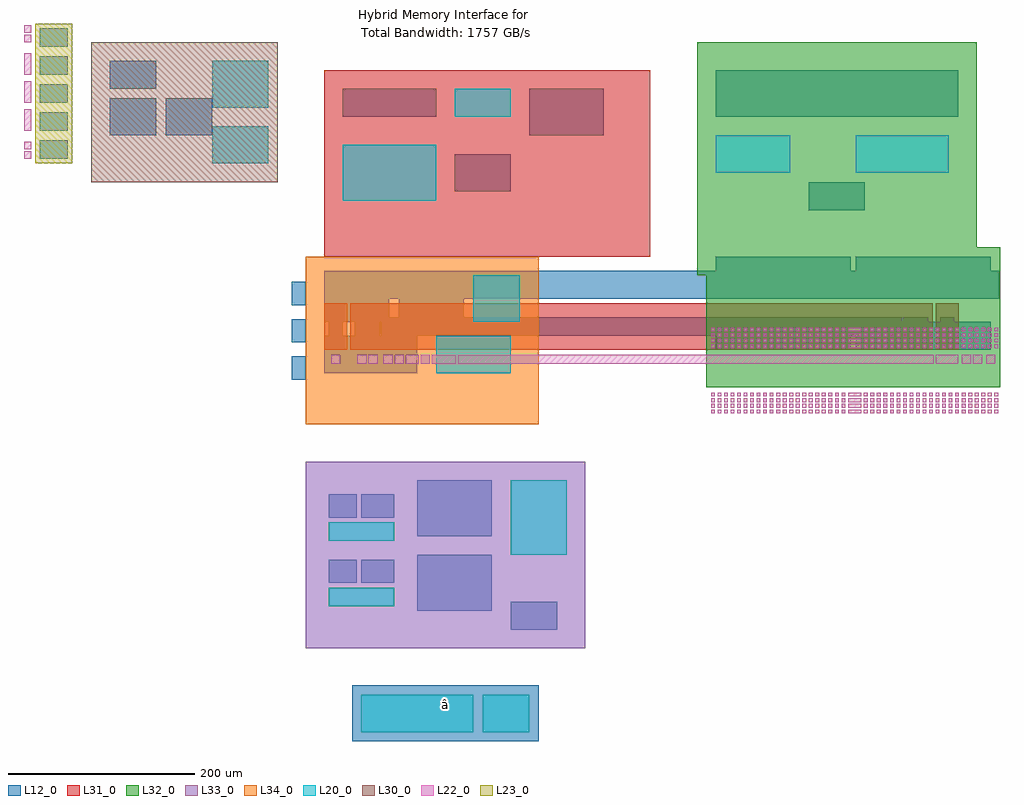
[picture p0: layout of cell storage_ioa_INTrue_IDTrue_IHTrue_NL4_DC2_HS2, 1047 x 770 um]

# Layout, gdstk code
import gdstk
lib = gdstk.Library(unit=1e-6, precision=1e-09)
def R(c, l, rs):  # rectangles x0, y0, x1, y1
    for r in rs: c.add(gdstk.rectangle(r[:2], r[2:], *l))
L12_0 = (12, 0)
L20_0 = (20, 0)
L22_0 = (22, 0)
L23_0 = (23, 0)
L30_0 = (30, 0)
L31_0 = (31, 0)
L32_0 = (32, 0)
L33_0 = (33, 0)
L34_0 = (34, 0)

rectangle_gdsfactorypcom = lib.new_cell('rectangle_gdsfactorypcomponentspshapesprectangle_S200_1_e11508d3')
R(rectangle_gdsfactorypcom, L30_0, [(0,0,200,150)])

c_rectangle_gdsfactorypcom = lib.new_cell('rectangle_gdsfactorypcomponentspshapesprectangle_S40_60_6309c5ed')
R(c_rectangle_gdsfactorypcom, L23_0, [(0,0,40,60)])

c_rectangle_gdsfactorypcom_ = lib.new_cell('rectangle_gdsfactorypcomponentspshapesprectangle_S30_20_809fb7a4')
R(c_rectangle_gdsfactorypcom_, L12_0, [(0,0,30,20)])

c_rectangle_gdsfactorypcom__ = lib.new_cell('rectangle_gdsfactorypcomponentspshapesprectangle_S8_8_L_e76dc976')
R(c_rectangle_gdsfactorypcom__, L22_0, [(0,0,8,8)])

nvme_serdes_lane = lib.new_cell('nvme_serdes_lane')
nvme_serdes_lane.add(gdstk.Reference(c_rectangle_gdsfactorypcom, (0,0)))
nvme_serdes_lane.add(gdstk.Reference(c_rectangle_gdsfactorypcom_, (5,35)))
nvme_serdes_lane.add(gdstk.Reference(c_rectangle_gdsfactorypcom_, (5,5)))
nvme_serdes_lane.add(gdstk.Reference(c_rectangle_gdsfactorypcom__, (-12,40)))
nvme_serdes_lane.add(gdstk.Reference(c_rectangle_gdsfactorypcom__, (-12,50)))
nvme_serdes_lane.add(gdstk.Reference(c_rectangle_gdsfactorypcom__, (-12,5)))
nvme_serdes_lane.add(gdstk.Reference(c_rectangle_gdsfactorypcom__, (-12,15)))
nvme_serdes_lane.add(gdstk.Label('TX', (20,45), layer=100, texttype=0))
nvme_serdes_lane.add(gdstk.Label('RX', (20,15), layer=100, texttype=0))

c_rectangle_gdsfactorypcom___ = lib.new_cell('rectangle_gdsfactorypcomponentspshapesprectangle_S50_30_d8f4c041')
R(c_rectangle_gdsfactorypcom___, L12_0, [(0,0,50,30)])

c_rectangle_gdsfactorypcom____ = lib.new_cell('rectangle_gdsfactorypcomponentspshapesprectangle_S50_40_d9421035')
R(c_rectangle_gdsfactorypcom____, L12_0, [(0,0,50,40)])

c_rectangle_gdsfactorypcom_____ = lib.new_cell('rectangle_gdsfactorypcomponentspshapesprectangle_S60_50_de190fdf')
R(c_rectangle_gdsfactorypcom_____, L20_0, [(0,0,60,50)])

c_rectangle_gdsfactorypcom______ = lib.new_cell('rectangle_gdsfactorypcomponentspshapesprectangle_S60_40_445608bc')
R(c_rectangle_gdsfactorypcom______, L20_0, [(0,0,60,40)])

nvme_controller_l4_qd64 = lib.new_cell('nvme_controller_L4_QD64')
nvme_controller_l4_qd64.add(gdstk.Reference(rectangle_gdsfactorypcom, (0,0)))
nvme_controller_l4_qd64.add(gdstk.Reference(nvme_serdes_lane, (-60,20)))
nvme_controller_l4_qd64.add(gdstk.Reference(nvme_serdes_lane, (-60,50)))
nvme_controller_l4_qd64.add(gdstk.Reference(nvme_serdes_lane, (-60,80)))
nvme_controller_l4_qd64.add(gdstk.Reference(nvme_serdes_lane, (-60,110)))
nvme_controller_l4_qd64.add(gdstk.Reference(c_rectangle_gdsfactorypcom___, (20,100)))
nvme_controller_l4_qd64.add(gdstk.Reference(c_rectangle_gdsfactorypcom____, (20,50)))
nvme_controller_l4_qd64.add(gdstk.Reference(c_rectangle_gdsfactorypcom____, (80,50)))
nvme_controller_l4_qd64.add(gdstk.Reference(c_rectangle_gdsfactorypcom_____, (130,80)))
nvme_controller_l4_qd64.add(gdstk.Reference(c_rectangle_gdsfactorypcom______, (130,20)))
nvme_controller_l4_qd64.add(gdstk.Label('Admin Q', (45,115), layer=100, texttype=0))
nvme_controller_l4_qd64.add(gdstk.Label('Sub Q', (45,70), layer=100, texttype=0))
nvme_controller_l4_qd64.add(gdstk.Label('x64', (45,60), layer=100, texttype=0))
nvme_controller_l4_qd64.add(gdstk.Label('Cpl Q', (105,70), layer=100, texttype=0))
nvme_controller_l4_qd64.add(gdstk.Label('CMD', (160,105), layer=100, texttype=0))
nvme_controller_l4_qd64.add(gdstk.Label('PROC', (160,95), layer=100, texttype=0))
nvme_controller_l4_qd64.add(gdstk.Label('DATA', (160,40), layer=100, texttype=0))
nvme_controller_l4_qd64.add(gdstk.Label('BUF', (160,30), layer=100, texttype=0))
nvme_controller_l4_qd64.add(gdstk.Label('NVMe Gen4 x4', (100,165), layer=100, texttype=0))
nvme_controller_l4_qd64.add(gdstk.Label('16 GB/s', (100,180), layer=100, texttype=0))

c_rectangle_gdsfactorypcom_______ = lib.new_cell('rectangle_gdsfactorypcomponentspshapesprectangle_S350_2_b3605190')
R(c_rectangle_gdsfactorypcom_______, L31_0, [(0,0,350,200)])

c_rectangle_gdsfactorypcom________ = lib.new_cell('rectangle_gdsfactorypcomponentspshapesprectangle_S25_50_0eaac85f')
R(c_rectangle_gdsfactorypcom________, L31_0, [(0,0,25,50)])

c_rectangle_gdsfactorypcom_________ = lib.new_cell('rectangle_gdsfactorypcomponentspshapesprectangle_S10_10_8efecda3')
R(c_rectangle_gdsfactorypcom_________, L22_0, [(0,0,10,10)])

c_rectangle_gdsfactorypcom__________ = lib.new_cell('rectangle_gdsfactorypcomponentspshapesprectangle_S15_20_9abfeb7e')
R(c_rectangle_gdsfactorypcom__________, L12_0, [(0,0,15,20)])

ddr5_data_lane = lib.new_cell('ddr5_data_lane')
ddr5_data_lane.add(gdstk.Reference(c_rectangle_gdsfactorypcom________, (0,0)))
ddr5_data_lane.add(gdstk.Reference(c_rectangle_gdsfactorypcom_________, (7.5,-15)))
ddr5_data_lane.add(gdstk.Reference(c_rectangle_gdsfactorypcom__________, (5,15)))
ddr5_data_lane.add(gdstk.Label('DQ', (12.5,-20), layer=100, texttype=0))

c_rectangle_gdsfactorypcom___________ = lib.new_cell('rectangle_gdsfactorypcomponentspshapesprectangle_S264_3_f0d4ea26')
R(c_rectangle_gdsfactorypcom___________, L12_0, [(0,0,264,30)])

ddr5_byte_lane = lib.new_cell('ddr5_byte_lane')
ddr5_byte_lane.add(gdstk.Reference(ddr5_data_lane, (0,0)))
ddr5_byte_lane.add(gdstk.Reference(ddr5_data_lane, (28,0)))
ddr5_byte_lane.add(gdstk.Reference(ddr5_data_lane, (56,0)))
ddr5_byte_lane.add(gdstk.Reference(ddr5_data_lane, (84,0)))
ddr5_byte_lane.add(gdstk.Reference(ddr5_data_lane, (112,0)))
ddr5_byte_lane.add(gdstk.Reference(ddr5_data_lane, (140,0)))
ddr5_byte_lane.add(gdstk.Reference(ddr5_data_lane, (168,0)))
ddr5_byte_lane.add(gdstk.Reference(ddr5_data_lane, (196,0)))
ddr5_byte_lane.add(gdstk.Reference(c_rectangle_gdsfactorypcom_________, (224,-15)))
ddr5_byte_lane.add(gdstk.Reference(c_rectangle_gdsfactorypcom_________, (236,-15)))
ddr5_byte_lane.add(gdstk.Reference(c_rectangle_gdsfactorypcom_________, (250,-15)))
ddr5_byte_lane.add(gdstk.Reference(c_rectangle_gdsfactorypcom___________, (0,55)))
ddr5_byte_lane.add(gdstk.Label('DQS', (234,-25), layer=100, texttype=0))
ddr5_byte_lane.add(gdstk.Label('DM', (255,-25), layer=100, texttype=0))
ddr5_byte_lane.add(gdstk.Label('BYTE LANE', (112,70), layer=100, texttype=0))

c_rectangle_gdsfactorypcom____________ = lib.new_cell('rectangle_gdsfactorypcomponentspshapesprectangle_S100_3_92ad3498')
R(c_rectangle_gdsfactorypcom____________, L12_0, [(0,0,100,30)])

c_rectangle_gdsfactorypcom_____________ = lib.new_cell('rectangle_gdsfactorypcomponentspshapesprectangle_S60_30_f3b40c23')
R(c_rectangle_gdsfactorypcom_____________, L20_0, [(0,0,60,30)])

c_rectangle_gdsfactorypcom______________ = lib.new_cell('rectangle_gdsfactorypcomponentspshapesprectangle_S80_50_e3c18b82')
R(c_rectangle_gdsfactorypcom______________, L12_0, [(0,0,80,50)])

c_rectangle_gdsfactorypcom_______________ = lib.new_cell('rectangle_gdsfactorypcomponentspshapesprectangle_S100_6_37c31c80')
R(c_rectangle_gdsfactorypcom_______________, L20_0, [(0,0,100,60)])

c_rectangle_gdsfactorypcom________________ = lib.new_cell('rectangle_gdsfactorypcomponentspshapesprectangle_S60_40_b8b6fa46')
R(c_rectangle_gdsfactorypcom________________, L12_0, [(0,0,60,40)])

ddr5_phy_c2_r2 = lib.new_cell('ddr5_phy_C2_R2')
ddr5_phy_c2_r2.add(gdstk.Reference(c_rectangle_gdsfactorypcom_______, (0,0)))
ddr5_phy_c2_r2.add(gdstk.Reference(ddr5_byte_lane, (0,-100)))
ddr5_phy_c2_r2.add(gdstk.Reference(ddr5_byte_lane, (40,-100)))
ddr5_phy_c2_r2.add(gdstk.Reference(ddr5_byte_lane, (80,-100)))
ddr5_phy_c2_r2.add(gdstk.Reference(ddr5_byte_lane, (120,-100)))
ddr5_phy_c2_r2.add(gdstk.Reference(ddr5_byte_lane, (160,-100)))
ddr5_phy_c2_r2.add(gdstk.Reference(ddr5_byte_lane, (200,-100)))
ddr5_phy_c2_r2.add(gdstk.Reference(ddr5_byte_lane, (240,-100)))
ddr5_phy_c2_r2.add(gdstk.Reference(ddr5_byte_lane, (280,-100)))
ddr5_phy_c2_r2.add(gdstk.Reference(ddr5_byte_lane, (180,-100)))
ddr5_phy_c2_r2.add(gdstk.Reference(ddr5_byte_lane, (220,-100)))
ddr5_phy_c2_r2.add(gdstk.Reference(ddr5_byte_lane, (260,-100)))
ddr5_phy_c2_r2.add(gdstk.Reference(ddr5_byte_lane, (300,-100)))
ddr5_phy_c2_r2.add(gdstk.Reference(ddr5_byte_lane, (340,-100)))
ddr5_phy_c2_r2.add(gdstk.Reference(ddr5_byte_lane, (380,-100)))
ddr5_phy_c2_r2.add(gdstk.Reference(ddr5_byte_lane, (420,-100)))
ddr5_phy_c2_r2.add(gdstk.Reference(ddr5_byte_lane, (460,-100)))
ddr5_phy_c2_r2.add(gdstk.Reference(c_rectangle_gdsfactorypcom____________, (20,150)))
ddr5_phy_c2_r2.add(gdstk.Reference(c_rectangle_gdsfactorypcom_____________, (140,150)))
ddr5_phy_c2_r2.add(gdstk.Reference(c_rectangle_gdsfactorypcom______________, (220,130)))
ddr5_phy_c2_r2.add(gdstk.Reference(c_rectangle_gdsfactorypcom_______________, (20,60)))
ddr5_phy_c2_r2.add(gdstk.Reference(c_rectangle_gdsfactorypcom________________, (140,70)))
ddr5_phy_c2_r2.add(gdstk.Label('CH0', (80,-130), layer=100, texttype=0))
ddr5_phy_c2_r2.add(gdstk.Label('CH1', (260,-130), layer=100, texttype=0))
ddr5_phy_c2_r2.add(gdstk.Label('CA BUS', (70,165), layer=100, texttype=0))
ddr5_phy_c2_r2.add(gdstk.Label('CLK', (170,165), layer=100, texttype=0))
ddr5_phy_c2_r2.add(gdstk.Label('TRAIN', (260,155), layer=100, texttype=0))
ddr5_phy_c2_r2.add(gdstk.Label('RD/WR', (70,90), layer=100, texttype=0))
ddr5_phy_c2_r2.add(gdstk.Label('FIFO', (70,80), layer=100, texttype=0))
ddr5_phy_c2_r2.add(gdstk.Label('REF', (170,90), layer=100, texttype=0))
ddr5_phy_c2_r2.add(gdstk.Label('DDR5-6400 2CH', (175,220), layer=100, texttype=0))
ddr5_phy_c2_r2.add(gdstk.Label('102 GB/s', (175,235), layer=100, texttype=0))

c_rectangle_gdsfactorypcom_________________ = lib.new_cell('rectangle_gdsfactorypcomponentspshapesprectangle_S300_2_e34d8c28')
R(c_rectangle_gdsfactorypcom_________________, L32_0, [(0,0,300,250)])

c_rectangle_gdsfactorypcom__________________ = lib.new_cell('rectangle_gdsfactorypcomponentspshapesprectangle_S60_80_6af487b7')
R(c_rectangle_gdsfactorypcom__________________, L32_0, [(0,0,60,80)])

c_rectangle_gdsfactorypcom___________________ = lib.new_cell('rectangle_gdsfactorypcomponentspshapesprectangle_S4_4_L_ece0930e')
R(c_rectangle_gdsfactorypcom___________________, L22_0, [(0,0,4,4)])

c_rectangle_gdsfactorypcom____________________ = lib.new_cell('rectangle_gdsfactorypcomponentspshapesprectangle_S40_30_a9745b1f')
R(c_rectangle_gdsfactorypcom____________________, L12_0, [(0,0,40,30)])

hbm_channel = lib.new_cell('hbm_channel')
hbm_channel.add(gdstk.Reference(c_rectangle_gdsfactorypcom__________________, (0,0)))
hbm_channel.add(gdstk.Reference(c_rectangle_gdsfactorypcom___________________, (5,-10)))
hbm_channel.add(gdstk.Reference(c_rectangle_gdsfactorypcom___________________, (12,-10)))
hbm_channel.add(gdstk.Reference(c_rectangle_gdsfactorypcom___________________, (19,-10)))
hbm_channel.add(gdstk.Reference(c_rectangle_gdsfactorypcom___________________, (26,-10)))
hbm_channel.add(gdstk.Reference(c_rectangle_gdsfactorypcom___________________, (33,-10)))
hbm_channel.add(gdstk.Reference(c_rectangle_gdsfactorypcom___________________, (40,-10)))
hbm_channel.add(gdstk.Reference(c_rectangle_gdsfactorypcom___________________, (47,-10)))
hbm_channel.add(gdstk.Reference(c_rectangle_gdsfactorypcom___________________, (54,-10)))
hbm_channel.add(gdstk.Reference(c_rectangle_gdsfactorypcom___________________, (5,-16)))
hbm_channel.add(gdstk.Reference(c_rectangle_gdsfactorypcom___________________, (12,-16)))
hbm_channel.add(gdstk.Reference(c_rectangle_gdsfactorypcom___________________, (19,-16)))
hbm_channel.add(gdstk.Reference(c_rectangle_gdsfactorypcom___________________, (26,-16)))
hbm_channel.add(gdstk.Reference(c_rectangle_gdsfactorypcom___________________, (33,-16)))
hbm_channel.add(gdstk.Reference(c_rectangle_gdsfactorypcom___________________, (40,-16)))
hbm_channel.add(gdstk.Reference(c_rectangle_gdsfactorypcom___________________, (47,-16)))
hbm_channel.add(gdstk.Reference(c_rectangle_gdsfactorypcom___________________, (54,-16)))
hbm_channel.add(gdstk.Reference(c_rectangle_gdsfactorypcom___________________, (5,-22)))
hbm_channel.add(gdstk.Reference(c_rectangle_gdsfactorypcom___________________, (12,-22)))
hbm_channel.add(gdstk.Reference(c_rectangle_gdsfactorypcom___________________, (19,-22)))
hbm_channel.add(gdstk.Reference(c_rectangle_gdsfactorypcom___________________, (26,-22)))
hbm_channel.add(gdstk.Reference(c_rectangle_gdsfactorypcom___________________, (33,-22)))
hbm_channel.add(gdstk.Reference(c_rectangle_gdsfactorypcom___________________, (40,-22)))
hbm_channel.add(gdstk.Reference(c_rectangle_gdsfactorypcom___________________, (47,-22)))
hbm_channel.add(gdstk.Reference(c_rectangle_gdsfactorypcom___________________, (54,-22)))
hbm_channel.add(gdstk.Reference(c_rectangle_gdsfactorypcom___________________, (5,-28)))
hbm_channel.add(gdstk.Reference(c_rectangle_gdsfactorypcom___________________, (12,-28)))
hbm_channel.add(gdstk.Reference(c_rectangle_gdsfactorypcom___________________, (19,-28)))
hbm_channel.add(gdstk.Reference(c_rectangle_gdsfactorypcom___________________, (26,-28)))
hbm_channel.add(gdstk.Reference(c_rectangle_gdsfactorypcom___________________, (33,-28)))
hbm_channel.add(gdstk.Reference(c_rectangle_gdsfactorypcom___________________, (40,-28)))
hbm_channel.add(gdstk.Reference(c_rectangle_gdsfactorypcom___________________, (47,-28)))
hbm_channel.add(gdstk.Reference(c_rectangle_gdsfactorypcom___________________, (54,-28)))
hbm_channel.add(gdstk.Reference(c_rectangle_gdsfactorypcom____________________, (10,40)))
hbm_channel.add(gdstk.Label('128b', (30,55), layer=100, texttype=0))

c_rectangle_gdsfactorypcom_____________________ = lib.new_cell('rectangle_gdsfactorypcomponentspshapesprectangle_S260_5_b3890238')
R(c_rectangle_gdsfactorypcom_____________________, L12_0, [(0,0,260,50)])

c_rectangle_gdsfactorypcom______________________ = lib.new_cell('rectangle_gdsfactorypcomponentspshapesprectangle_S80_40_04ffd337')
R(c_rectangle_gdsfactorypcom______________________, L20_0, [(0,0,80,40)])

c_rectangle_gdsfactorypcom_______________________ = lib.new_cell('rectangle_gdsfactorypcomponentspshapesprectangle_S100_4_38f347de')
R(c_rectangle_gdsfactorypcom_______________________, L20_0, [(0,0,100,40)])

c_rectangle_gdsfactorypcom________________________ = lib.new_cell('rectangle_gdsfactorypcomponentspshapesprectangle_S60_30_0ca12ccc')
R(c_rectangle_gdsfactorypcom________________________, L12_0, [(0,0,60,30)])

hbm_phy_s2_cps8 = lib.new_cell('hbm_phy_S2_CPS8')
hbm_phy_s2_cps8.add(gdstk.Reference(c_rectangle_gdsfactorypcom_________________, (0,0)))
hbm_phy_s2_cps8.add(gdstk.Reference(hbm_channel, (10,-50)))
hbm_phy_s2_cps8.add(gdstk.Reference(hbm_channel, (45,-50)))
hbm_phy_s2_cps8.add(gdstk.Reference(hbm_channel, (80,-50)))
hbm_phy_s2_cps8.add(gdstk.Reference(hbm_channel, (115,-50)))
hbm_phy_s2_cps8.add(gdstk.Reference(hbm_channel, (10,-120)))
hbm_phy_s2_cps8.add(gdstk.Reference(hbm_channel, (45,-120)))
hbm_phy_s2_cps8.add(gdstk.Reference(hbm_channel, (80,-120)))
hbm_phy_s2_cps8.add(gdstk.Reference(hbm_channel, (115,-120)))
hbm_phy_s2_cps8.add(gdstk.Reference(hbm_channel, (160,-50)))
hbm_phy_s2_cps8.add(gdstk.Reference(hbm_channel, (195,-50)))
hbm_phy_s2_cps8.add(gdstk.Reference(hbm_channel, (230,-50)))
hbm_phy_s2_cps8.add(gdstk.Reference(hbm_channel, (265,-50)))
hbm_phy_s2_cps8.add(gdstk.Reference(hbm_channel, (160,-120)))
hbm_phy_s2_cps8.add(gdstk.Reference(hbm_channel, (195,-120)))
hbm_phy_s2_cps8.add(gdstk.Reference(hbm_channel, (230,-120)))
hbm_phy_s2_cps8.add(gdstk.Reference(hbm_channel, (265,-120)))
hbm_phy_s2_cps8.add(gdstk.Reference(c_rectangle_gdsfactorypcom_____________________, (20,170)))
hbm_phy_s2_cps8.add(gdstk.Reference(c_rectangle_gdsfactorypcom______________________, (20,110)))
hbm_phy_s2_cps8.add(gdstk.Reference(c_rectangle_gdsfactorypcom_______________________, (170,110)))
hbm_phy_s2_cps8.add(gdstk.Reference(c_rectangle_gdsfactorypcom________________________, (120,70)))
hbm_phy_s2_cps8.add(gdstk.Label('Stack 0', (75,-150), layer=100, texttype=0))
hbm_phy_s2_cps8.add(gdstk.Label('Stack 1', (225,-150), layer=100, texttype=0))
hbm_phy_s2_cps8.add(gdstk.Label('CROSSBAR', (150,195), layer=100, texttype=0))
hbm_phy_s2_cps8.add(gdstk.Label('CMD', (60,130), layer=100, texttype=0))
hbm_phy_s2_cps8.add(gdstk.Label('PCH CTRL', (220,130), layer=100, texttype=0))
hbm_phy_s2_cps8.add(gdstk.Label('ECC', (150,85), layer=100, texttype=0))
hbm_phy_s2_cps8.add(gdstk.Label('HBM3 2S', (150,270), layer=100, texttype=0))
hbm_phy_s2_cps8.add(gdstk.Label('1638 GB/s', (150,285), layer=100, texttype=0))

c_rectangle_gdsfactorypcom_________________________ = lib.new_cell('rectangle_gdsfactorypcomponentspshapesprectangle_S250_1_3490dde5')
R(c_rectangle_gdsfactorypcom_________________________, L34_0, [(0,0,250,180)])

c_rectangle_gdsfactorypcom__________________________ = lib.new_cell('rectangle_gdsfactorypcomponentspshapesprectangle_S70_50_1a6cd13f')
R(c_rectangle_gdsfactorypcom__________________________, L12_0, [(0,0,70,50)])

c_rectangle_gdsfactorypcom___________________________ = lib.new_cell('rectangle_gdsfactorypcomponentspshapesprectangle_S50_50_61e2075e')
R(c_rectangle_gdsfactorypcom___________________________, L20_0, [(0,0,50,50)])

c_rectangle_gdsfactorypcom____________________________ = lib.new_cell('rectangle_gdsfactorypcomponentspshapesprectangle_S100_4_0ef372cc')
R(c_rectangle_gdsfactorypcom____________________________, L12_0, [(0,0,100,40)])

c_rectangle_gdsfactorypcom_____________________________ = lib.new_cell('rectangle_gdsfactorypcomponentspshapesprectangle_S15_25_48c10b00')
R(c_rectangle_gdsfactorypcom_____________________________, L12_0, [(0,0,15,25)])

unified_memory_controlle = lib.new_cell('unified_memory_controller')
unified_memory_controlle.add(gdstk.Reference(c_rectangle_gdsfactorypcom_________________________, (0,0)))
unified_memory_controlle.add(gdstk.Reference(c_rectangle_gdsfactorypcom__________________________, (20,110)))
unified_memory_controlle.add(gdstk.Reference(c_rectangle_gdsfactorypcom__________________________, (100,110)))
unified_memory_controlle.add(gdstk.Reference(c_rectangle_gdsfactorypcom___________________________, (180,110)))
unified_memory_controlle.add(gdstk.Reference(c_rectangle_gdsfactorypcom____________________________, (20,55)))
unified_memory_controlle.add(gdstk.Reference(c_rectangle_gdsfactorypcom______________________, (140,55)))
unified_memory_controlle.add(gdstk.Reference(c_rectangle_gdsfactorypcom_____________________________, (-15,128)))
unified_memory_controlle.add(gdstk.Reference(c_rectangle_gdsfactorypcom_____________________________, (-15,88)))
unified_memory_controlle.add(gdstk.Reference(c_rectangle_gdsfactorypcom_____________________________, (-15,48)))
unified_memory_controlle.add(gdstk.Label('ADDR', (55,135), layer=100, texttype=0))
unified_memory_controlle.add(gdstk.Label('XLAT', (55,125), layer=100, texttype=0))
unified_memory_controlle.add(gdstk.Label('REQ', (135,135), layer=100, texttype=0))
unified_memory_controlle.add(gdstk.Label('SCHED', (135,125), layer=100, texttype=0))
unified_memory_controlle.add(gdstk.Label('QoS', (205,135), layer=100, texttype=0))
unified_memory_controlle.add(gdstk.Label('COHERENCY', (70,75), layer=100, texttype=0))
unified_memory_controlle.add(gdstk.Label('DATA MUX', (180,75), layer=100, texttype=0))
unified_memory_controlle.add(gdstk.Label('NVMe', (-25,140), layer=100, texttype=0))
unified_memory_controlle.add(gdstk.Label('DDR5', (-25,100), layer=100, texttype=0))
unified_memory_controlle.add(gdstk.Label('HBM', (-25,60), layer=100, texttype=0))
unified_memory_controlle.add(gdstk.Label('UNIFIED MEMORY CONTROLLER', (125,195), layer=100, texttype=0))

c_rectangle_gdsfactorypcom______________________________ = lib.new_cell('rectangle_gdsfactorypcomponentspshapesprectangle_S300_2_3f796cf9')
R(c_rectangle_gdsfactorypcom______________________________, L33_0, [(0,0,300,200)])

c_rectangle_gdsfactorypcom_______________________________ = lib.new_cell('rectangle_gdsfactorypcomponentspshapesprectangle_S80_60_aece9c6f')
R(c_rectangle_gdsfactorypcom_______________________________, L33_0, [(0,0,80,60)])

c_rectangle_gdsfactorypcom________________________________ = lib.new_cell('rectangle_gdsfactorypcomponentspshapesprectangle_S30_25_ecbd5b29')
R(c_rectangle_gdsfactorypcom________________________________, L12_0, [(0,0,30,25)])

c_rectangle_gdsfactorypcom_________________________________ = lib.new_cell('rectangle_gdsfactorypcomponentspshapesprectangle_S35_25_3b170448')
R(c_rectangle_gdsfactorypcom_________________________________, L12_0, [(0,0,35,25)])

c_rectangle_gdsfactorypcom__________________________________ = lib.new_cell('rectangle_gdsfactorypcomponentspshapesprectangle_S70_20_2a71d56a')
R(c_rectangle_gdsfactorypcom__________________________________, L20_0, [(0,0,70,20)])

scatter_gather_unit = lib.new_cell('scatter_gather_unit')
scatter_gather_unit.add(gdstk.Reference(c_rectangle_gdsfactorypcom_______________________________, (0,0)))
scatter_gather_unit.add(gdstk.Reference(c_rectangle_gdsfactorypcom________________________________, (5,30)))
scatter_gather_unit.add(gdstk.Reference(c_rectangle_gdsfactorypcom_________________________________, (40,30)))
scatter_gather_unit.add(gdstk.Reference(c_rectangle_gdsfactorypcom__________________________________, (5,5)))
scatter_gather_unit.add(gdstk.Label('DESC', (20,42), layer=100, texttype=0))
scatter_gather_unit.add(gdstk.Label('ADDR', (57,42), layer=100, texttype=0))
scatter_gather_unit.add(gdstk.Label('DATA MOVER', (40,15), layer=100, texttype=0))

c_rectangle_gdsfactorypcom___________________________________ = lib.new_cell('rectangle_gdsfactorypcomponentspshapesprectangle_S80_60_9a55fd85')
R(c_rectangle_gdsfactorypcom___________________________________, L12_0, [(0,0,80,60)])

c_rectangle_gdsfactorypcom____________________________________ = lib.new_cell('rectangle_gdsfactorypcomponentspshapesprectangle_S60_80_5755e730')
R(c_rectangle_gdsfactorypcom____________________________________, L20_0, [(0,0,60,80)])

dma_engine_c8 = lib.new_cell('dma_engine_C8')
dma_engine_c8.add(gdstk.Reference(c_rectangle_gdsfactorypcom______________________________, (0,0)))
dma_engine_c8.add(gdstk.Reference(scatter_gather_unit, (20,110)))
dma_engine_c8.add(gdstk.Reference(scatter_gather_unit, (20,40)))
dma_engine_c8.add(gdstk.Reference(c_rectangle_gdsfactorypcom___________________________________, (120,120)))
dma_engine_c8.add(gdstk.Reference(c_rectangle_gdsfactorypcom___________________________________, (120,40)))
dma_engine_c8.add(gdstk.Reference(c_rectangle_gdsfactorypcom____________________________________, (220,100)))
dma_engine_c8.add(gdstk.Reference(c_rectangle_gdsfactorypcom___, (220,20)))
dma_engine_c8.add(gdstk.Label('CH0-3', (60,145), layer=100, texttype=0))
dma_engine_c8.add(gdstk.Label('CH4-7', (60,75), layer=100, texttype=0))
dma_engine_c8.add(gdstk.Label('TERNARY', (160,150), layer=100, texttype=0))
dma_engine_c8.add(gdstk.Label('PACKER', (160,140), layer=100, texttype=0))
dma_engine_c8.add(gdstk.Label('81-trit â\x86\x94', (160,125), layer=100, texttype=0))
dma_engine_c8.add(gdstk.Label('162-bit', (160,115), layer=100, texttype=0))
dma_engine_c8.add(gdstk.Label('TERNARY', (160,70), layer=100, texttype=0))
dma_engine_c8.add(gdstk.Label('UNPACKER', (160,60), layer=100, texttype=0))
dma_engine_c8.add(gdstk.Label('OPT', (250,140), layer=100, texttype=0))
dma_engine_c8.add(gdstk.Label('RAM', (250,130), layer=100, texttype=0))
dma_engine_c8.add(gdstk.Label('I/F', (250,120), layer=100, texttype=0))
dma_engine_c8.add(gdstk.Label('T1', (285,160), layer=100, texttype=0))
dma_engine_c8.add(gdstk.Label('T2', (285,140), layer=100, texttype=0))
dma_engine_c8.add(gdstk.Label('T3', (285,120), layer=100, texttype=0))
dma_engine_c8.add(gdstk.Label('STATUS', (245,35), layer=100, texttype=0))
dma_engine_c8.add(gdstk.Label('DMA ENGINE (8 CH)', (150,215), layer=100, texttype=0))

c_rectangle_gdsfactorypcom_____________________________________ = lib.new_cell('rectangle_gdsfactorypcomponentspshapesprectangle_S200_6_16c6e405')
R(c_rectangle_gdsfactorypcom_____________________________________, L12_0, [(0,0,200,60)])

c_rectangle_gdsfactorypcom______________________________________ = lib.new_cell('rectangle_gdsfactorypcomponentspshapesprectangle_S120_4_57aa05cd')
R(c_rectangle_gdsfactorypcom______________________________________, L20_0, [(0,0,120,40)])

c_rectangle_gdsfactorypcom_______________________________________ = lib.new_cell('rectangle_gdsfactorypcomponentspshapesprectangle_S50_40_1929f19b')
R(c_rectangle_gdsfactorypcom_______________________________________, L20_0, [(0,0,50,40)])

storage_ioa_bus_interfac = lib.new_cell('storage_ioa_bus_interface')
storage_ioa_bus_interfac.add(gdstk.Reference(c_rectangle_gdsfactorypcom_____________________________________, (0,0)))
storage_ioa_bus_interfac.add(gdstk.Reference(c_rectangle_gdsfactorypcom______________________________________, (10,10)))
storage_ioa_bus_interfac.add(gdstk.Reference(c_rectangle_gdsfactorypcom_______________________________________, (140,10)))
storage_ioa_bus_interfac.add(gdstk.Label('DATA[161:0]', (70,30), layer=100, texttype=0))
storage_ioa_bus_interfac.add(gdstk.Label('CTRL', (165,30), layer=100, texttype=0))
storage_ioa_bus_interfac.add(gdstk.Label('STORAGE IOA BUS', (100,70), layer=100, texttype=0))

storage_ioa_intrue_idtru = lib.new_cell('storage_ioa_INTrue_IDTrue_IHTrue_NL4_DC2_HS2')
storage_ioa_intrue_idtru.add(gdstk.Reference(nvme_controller_l4_qd64, (20,380)))
storage_ioa_intrue_idtru.add(gdstk.Reference(ddr5_phy_c2_r2, (270,300)))
storage_ioa_intrue_idtru.add(gdstk.Reference(hbm_phy_s2_cps8, (670,280)))
storage_ioa_intrue_idtru.add(gdstk.Reference(unified_memory_controlle, (250,120)))
storage_ioa_intrue_idtru.add(gdstk.Reference(dma_engine_c8, (250,-120)))
storage_ioa_intrue_idtru.add(gdstk.Reference(storage_ioa_bus_interfac, (300,-220)))
storage_ioa_intrue_idtru.add(gdstk.Label('STORAGE IOA', (400,580), layer=100, texttype=0))
storage_ioa_intrue_idtru.add(gdstk.Label('Hybrid Memory Interface for Ternary Optical Computer', (400,560), layer=100, texttype=0))
storage_ioa_intrue_idtru.add(gdstk.Label('TO DIMM/STACK', (400,620), layer=100, texttype=0))
storage_ioa_intrue_idtru.add(gdstk.Label('â\x86\x91', (400,600), layer=100, texttype=0))
storage_ioa_intrue_idtru.add(gdstk.Label('â\x86\x93', (400,-180), layer=100, texttype=0))
storage_ioa_intrue_idtru.add(gdstk.Label('TO IOA CONTROLLER', (400,-250), layer=100, texttype=0))
storage_ioa_intrue_idtru.add(gdstk.Label('Total Bandwidth: 1757 GB/s', (400,540), layer=100, texttype=0))

lib.write_gds('storage_ioa_INTrue_IDTrue_IHTrue_NL4_DC2_HS2.gds')
